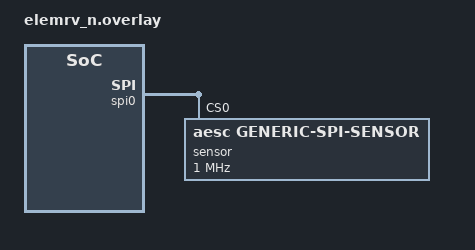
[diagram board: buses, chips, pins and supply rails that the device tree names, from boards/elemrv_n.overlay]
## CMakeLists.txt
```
# SPDX-License-Identifier: Apache-2.0

cmake_minimum_required(VERSION 3.20.0)
find_package(Zephyr REQUIRED HINTS $ENV{ZEPHYR_BASE})
project(sensor_spi_capture)

target_sources(app PRIVATE src/main.c)
```

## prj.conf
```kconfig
# SPI sensor capture — reads embedded SPI sensor via nafarr SPI controller
CONFIG_SPI=y
CONFIG_GPIO=y
```

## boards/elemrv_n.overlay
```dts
/*
 * SPDX-License-Identifier: Apache-2.0
 *
 * Enable SPI sensor on ElemRV-N SPI0 bus.
 */

&spi0 {
	status = "okay";
	sensor@0 {
		compatible = "aesc,generic-spi-sensor";
		reg = <0>;
		spi-max-frequency = <1000000>;
	};
};
```

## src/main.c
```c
/*
 * SPDX-License-Identifier: Apache-2.0
 *
 * SPI Sensor Capture: Reads temperature and pressure from an embedded
 * SPI sensor slave in the co-simulation wrapper.
 *
 * Protocol: write 1 byte (register address), read 1 byte (value).
 *   Reg 0x00 = Device ID (expect 0xCD)
 *   Reg 0x01 = Temperature (cycling 20..19)
 *   Reg 0x02 = Pressure (cycling 45..43)
 *
 * N-only (ElemRV-H has no SPI controller).
 */

#include <zephyr/kernel.h>
#include <zephyr/drivers/spi.h>

#define SPI_NODE       DT_NODELABEL(spi0)
#define NUM_SAMPLES    10
#define SAMPLE_INTERVAL_MS 100

/* SPI configuration: CPOL=0, CPHA=0, MSB first, 8-bit */
static const struct spi_config spi_cfg = {
	.frequency = 1000000,
	.operation = SPI_WORD_SET(8) | SPI_TRANSFER_MSB,
	.slave = 0,
};

static int spi_read_reg(const struct device *spi_dev, uint8_t reg, uint8_t *val)
{
	uint8_t tx_buf[1] = {reg};
	uint8_t rx_buf[1] = {0};

	struct spi_buf tx = {.buf = tx_buf, .len = 1};
	struct spi_buf_set tx_set = {.buffers = &tx, .count = 1};

	struct spi_buf rx = {.buf = rx_buf, .len = 1};
	struct spi_buf_set rx_set = {.buffers = &rx, .count = 1};

	int ret = spi_transceive(spi_dev, &spi_cfg, &tx_set, &rx_set);

	if (ret == 0) {
		*val = rx_buf[0];
	}
	return ret;
}

int main(void)
{
	const struct device *spi_dev = DEVICE_DT_GET(SPI_NODE);
	int success = 0;

	printk("SPI Sensor Capture\n");
	printk("Bus: SPI0, CS=0\n");
	printk("Samples: %d, interval: %d ms\n", NUM_SAMPLES, SAMPLE_INTERVAL_MS);

	if (!device_is_ready(spi_dev)) {
		printk("ERROR: SPI device not ready\n");
		printk("SPI Sensor Capture FAILED\n");
		return -1;
	}

	printk("SPI device ready\n");

	/* Read Device ID */
	uint8_t dev_id = 0;
	int ret = spi_read_reg(spi_dev, 0x00, &dev_id);

	if (ret != 0) {
		printk("ERROR: DevID read failed (ret=%d)\n", ret);
		printk("SPI Sensor Capture FAILED\n");
		return -1;
	}

	printk("DevID: 0x%02X (expect 0xCD)\n", dev_id);
	if (dev_id != 0xCD) {
		printk("WARNING: unexpected DevID\n");
	}

	/* Read sensor samples */
	for (int i = 1; i <= NUM_SAMPLES; i++) {
		uint8_t temp = 0, pressure = 0;

		ret = spi_read_reg(spi_dev, 0x01, &temp);
		if (ret != 0) {
			printk("Sample %d: temp ERROR (ret=%d)\n", i, ret);
			continue;
		}

		ret = spi_read_reg(spi_dev, 0x02, &pressure);
		if (ret != 0) {
			printk("Sample %d: pressure ERROR (ret=%d)\n", i, ret);
			continue;
		}

		printk("Sample %d: temp=%d pressure=%d\n", i, temp, pressure);
		success++;

		k_sleep(K_MSEC(SAMPLE_INTERVAL_MS));
	}

	printk("Capture complete: %d/%d samples OK\n", success, NUM_SAMPLES);

	if (success == NUM_SAMPLES) {
		printk("SPI Sensor Capture PASSED\n");
	} else {
		printk("SPI Sensor Capture FAILED\n");
	}

	return 0;
}
```
